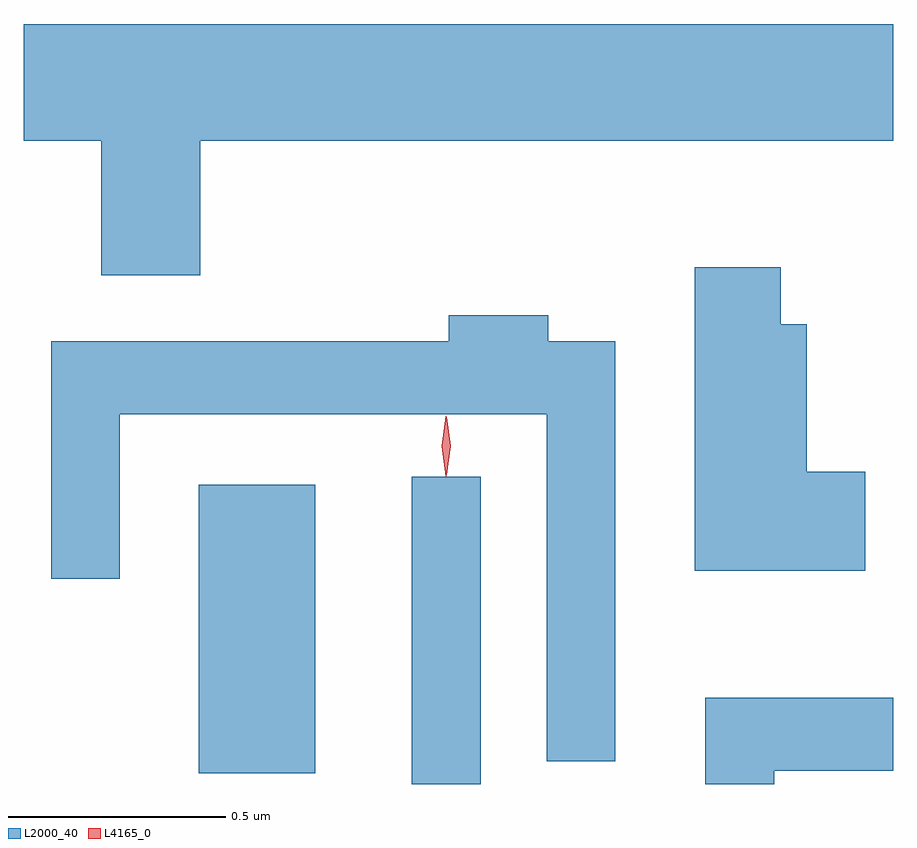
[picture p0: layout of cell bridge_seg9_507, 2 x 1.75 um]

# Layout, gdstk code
import gdstk
lib = gdstk.Library(unit=1e-6, precision=1e-09)
def R(c, l, rs):  # rectangles x0, y0, x1, y1
    for r in rs: c.add(gdstk.rectangle(r[:2], r[2:], *l))
def P(c, l, *ps):  # polygons
    for p in ps: c.add(gdstk.Polygon(p, *l))
L2000_40 = (2000, 40)
L4165_0 = (4165, 0)

bridge_seg9_507 = lib.new_cell('bridge_seg9_507')
R(bridge_seg9_507, L2000_40, [(548.386,1959.256,548.544,1959.963), (547.896,1959.281,548.164,1959.944)])
P(bridge_seg9_507, L2000_40, [(547.899,1960.736),(549.493,1960.736),(549.493,1961.004),(547.493,1961.004),(547.493,1960.736),(547.671,1960.736),(547.671,1960.426),(547.899,1960.426)],
  [(549.429,1959.974),(549.294,1959.974),(549.294,1960.314),(549.234,1960.314),(549.234,1960.444),(549.036,1960.444),(549.036,1959.746),(549.429,1959.746)],
  [(548.854,1960.274),(548.699,1960.274),(548.699,1960.334),(548.471,1960.334),(548.471,1960.274),(547.556,1960.274),(547.556,1959.728),(547.714,1959.728),(547.714,1960.106),(548.696,1960.106),(548.696,1959.308),(548.854,1959.308)],
  [(549.219,1959.286),(549.493,1959.286),(549.493,1959.454),(549.061,1959.454),(549.061,1959.256),(549.219,1959.256)])
P(bridge_seg9_507, L4165_0, [(548.464,1959.964),(548.455,1960.033),(548.464,1960.102),(548.465,1960.103),(548.465,1960.102),(548.475,1960.033),(548.465,1959.964),(548.465,1959.964)],
  [(548.464,1959.967),(548.455,1960.034),(548.464,1960.1),(548.465,1960.1),(548.466,1960.1),(548.475,1960.034),(548.466,1959.967),(548.465,1959.967)])

lib.write_gds('bridge_seg9_507.gds')
